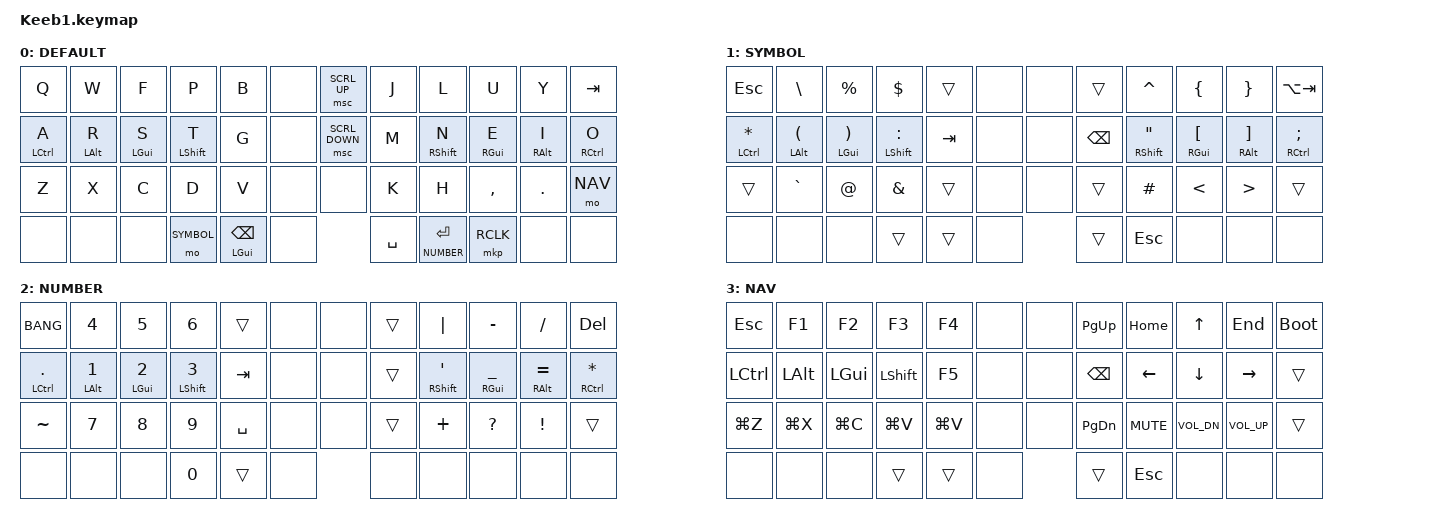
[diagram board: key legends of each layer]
#include <behaviors.dtsi>
#include <dt-bindings/zmk/keys.h>
#include <dt-bindings/zmk/bt.h>
#include <dt-bindings/zmk/pointing.h>

// Layers
#define DEFAULT 0
#define SYMBOL 1
#define NUMBER 2
#define NAV 3


//This layout is based on https://shixnya.org/?p=627
&mt {
    // tapping-term-ms = <1000>;
    flavor = "tap-preferred";
};
/ {  
    // behaviors {
    //     aupu: alt_up_pg_up {
    //         compatible = "zmk,behavior-mod-morph";
    //         #binding-cells = <0>;
    //         bindings = <&kp UP>, <&kp PG_UP>;
    //         mods = <(MOD_LALT)>;
    //     };
        
    //     adpd: alt_up_pg_up {
    //         compatible = "zmk,behavior-mod-morph";
    //         #binding-cells = <0>;
    //         bindings = <&kp DOWN>, <&kp PG_DN>;
    //         mods = <(MOD_LALT)>;
    //     };
        
    //     alhm: alt_up_pg_up {
    //         compatible = "zmk,behavior-mod-morph";
    //         #binding-cells = <0>;
    //         bindings = <&kp LEFT>, <&kp HOME>;
    //         mods = <(MOD_LALT)>;
    //     };

    //     arnd: alt_up_pg_up {
    //         compatible = "zmk,behavior-mod-morph";
    //         #binding-cells = <0>;
    //         bindings = <&kp RIGHT>, <&kp END>;
    //         mods = <(MOD_LALT)>;
    //     };

    // };
    
    keymap {
        compatible = "zmk,keymap";

        DEFAULT {
            bindings = <
                &kp Q               &kp W           &kp F           &kp P               &kp B           &none           &msc SCRL_UP    &kp J           &kp L               &kp U               &kp Y           &kp TAB
                &mt LCTRL A         &mt LALT R      &mt LGUI S      &mt LSHFT T         &kp G           &none           &msc SCRL_DOWN  &kp M           &mt RSHFT N         &mt RGUI E          &mt RALT I      &mt RCTRL O
                &kp Z               &kp X           &kp C           &kp D               &kp V           &none           &none           &kp K           &kp H               &kp COMMA           &kp DOT         &mo NAV
                &none               &none           &none           &mo SYMBOL          &mt LGUI BSPC   &none                           &kp SPACE       &lt NUMBER RETURN   &mkp RCLK           &none           &none
            >;
        }; 
        SYMBOL {
            bindings = <
                &kp ESC             &kp BSLH        &kp PRCNT       &kp DOLLAR          &trans          &none           &none           &trans          &kp CARET           &kp LBRC            &kp RBRC        &kp LA(TAB)
                &mt LCTRL STAR      &mt LALT LPAR   &mt LGUI RPAR   &mt LSHFT COLON     &kp TAB         &none           &none           &kp BSPC        &mt RSHFT DQT       &mt RGUI LBKT       &mt RALT RBKT   &mt RCTRL SEMI
                &trans              &kp GRAVE       &kp AT_SIGN     &kp AMPERSAND       &trans          &none           &none           &trans          &kp HASH            &kp LESS_THAN       &kp GT          &trans
                &none           &none               &none           &trans          &trans              &none                           &trans              &kp ESC             &none           &none           &none
            >;
        }; 
        
        NUMBER {
            bindings = <
                &kp BANG            &kp N4          &kp N5          &kp N6              &trans          &none           &none           &trans          &kp PIPE            &kp MINUS           &kp SLASH       &kp DEL
                &mt LCTRL DOT       &mt LALT N1     &mt LGUI N2     &mt LSHFT N3        &kp TAB         &none           &none           &trans          &mt RSHFT APOS      &mt RGUI UNDER      &mt RALT EQUAL  &mt RCTRL STAR
                &kp TILDE           &kp N7          &kp N8          &kp N9              &kp SPACE       &none           &none           &trans          &kp PLUS            &kp QUESTION        &kp EXCL        &trans
                &none           &none               &none           &kp N0          &trans              &none                           &none               &none               &none           &none           &none
            >;
        }; 
        
        NAV {
            bindings = <
                &kp ESC             &kp F1          &kp F2          &kp F3              &kp F4          &none           &none           &kp PAGE_UP     &kp HOME            &kp UP              &kp END         &bootloader
                &kp LCTRL           &kp LALT        &kp LGUI        &kp LSHFT           &kp F5          &none           &none           &kp BSPC        &kp LEFT            &kp DOWN            &kp RIGHT       &trans
                &kp LG(Z)           &kp LG(X)       &kp LG(C)       &kp LG(V)           &kp LG(V)       &none           &none           &kp PAGE_DOWN   &kp C_MUTE          &kp C_VOL_DN        &kp C_VOL_UP    &trans
                &none           &none               &none           &trans          &trans              &none                           &trans              &kp ESC             &none           &none           &none
            >;
        }; 
        
    };
    // keymap {
    //     compatible = "zmk,keymap";

    //     default_layer {
    //         bindings = <
    //             &kp ESC       &kp Q         &kp W         &kp E         &kp R         &kp T         &kp Y         &kp U         &kp I         &kp O         &kp P         &kp BSPC
    //             &kp TAB       &kp A         &kp S         &kp D         &kp F         &kp G         &kp H         &kp J         &kp K         &kp L         &kp SEMI      &kp RET
    //             &kp LSHFT     &kp Z         &kp X         &kp C         &kp V         &kp B         &kp N         &kp M         &kp COMMA     &kp DOT       &kp UP        &kp RSHFT
    //             &kp LCTRL     &mo RAISE     &kp LALT      &kp LALT      &kp LGUI      &mo NUMPAD                  &kp SPACE     &mo LOWER     &kp LEFT      &kp DOWN      &kp RIGHT
    //         >;
    //     }; 
    //     // there is a problem with the plus minus under equal buttons in the lower layer
    //     lower_layer {
    //         bindings = <
    //             &kp GRAVE     &none         &kp LPAR      &kp RPAR      &none         &none         &none         &none         &kp MINUS     &kp PLUS      &kp BSLH     &kp BSPC
    //             &kp TAB       &none         &kp LBKT      &kp RBKT      &none         &none         &none         &none         &kp UNDER     &kp EQUAL     &kp APOS     &kp RET
    //             &kp LSHFT     &none         &kp LBRC      &kp RBRC      &none         &none         &none         &none         &none         &none         &kp FSLH     &kp RSHFT
    //             &kp LCTRL     &none         &none         &none         &none         &none                       &kp SPACE     &none         &none         &none        &none
    //         >;
    //     }; 
        
    //     raise_layer {
    //         bindings = <
    //             &kp ESC       &kp N1        &kp N2        &kp N3        &kp N4        &kp N5        &kp N6        &kp N7        &kp N8        &kp N9        &kp N0        &kp DEL
    //             &kp F1        &kp F2        &kp F3        &kp F4        &kp F5        &kp F6        &kp F7        &kp F8        &kp F9        &kp F10       &kp F11       &kp F12
    //             &kp LSHFT     &none         &none         &none         &none         &none         &none         &none         &none         &none         &kp PG_UP     &kp RSHFT
    //             &kp LCTRL     &none         &none         &none         &kp LGUI      &none                       &kp SPACE     &none         &kp HOME      &kp PG_DN     &kp END
    //         >;
    //     }; 
        
    //     numpad_layer {
    //         bindings = <
    //             &kp ESC       &none         &none         &none         &none         &none         &none         &none         &kp KP_N7     &kp KP_N8     &kp KP_N9     &kp KP_PLUS
    //             &kp TAB       &none         &none         &none         &none         &none         &none         &none         &kp KP_N4     &kp KP_N5     &kp KP_N6     &kp KP_MINUS
    //             &kp LSHFT     &none         &none         &none         &none         &none         &none         &none         &kp KP_N1     &kp KP_N2     &kp KP_N3     &kp KP_MULTIPLY
    //             &kp LCTRL     &none         &none         &none         &none         &none                       &kp SPACE     &kp KP_N0     &kp KP_DOT    &kp RET       &kp KP_DIVIDE
    //         >;
    //     }; 
        
    // };
};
